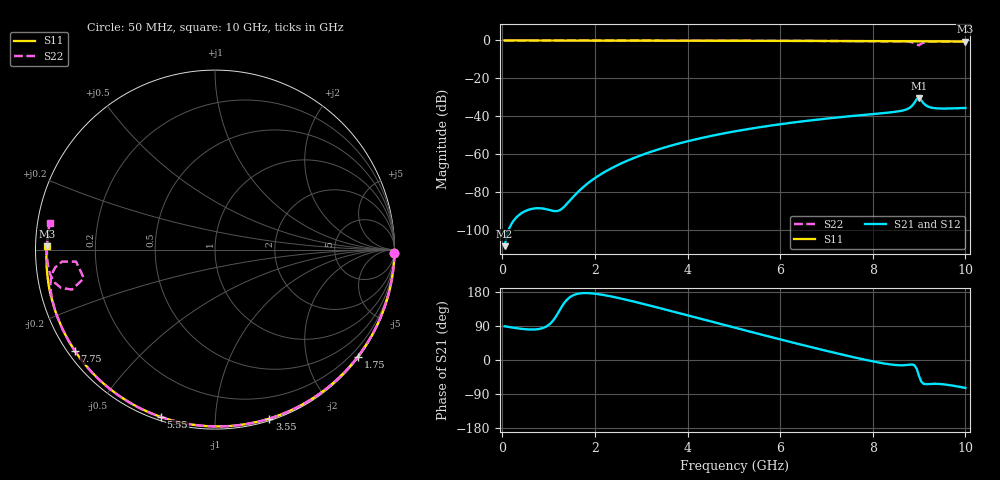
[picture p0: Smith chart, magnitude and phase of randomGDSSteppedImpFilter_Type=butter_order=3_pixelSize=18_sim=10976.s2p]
! freq	dB(S11)	phase(S11)	dB(S12)	phase(S12)
!  dB(S21)	phase(S21)	dB(S22)	phase(S22)
!S-par simulation data
#  GHz  S  DB  R 50
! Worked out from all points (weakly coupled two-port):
!   200 points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, 50 MHz to 10 GHz, reference 50 ohm
!   highest |S21| = -30.34 dB at 9 GHz (marker M1); lowest = -108.6 dB at 50 MHz (marker M2)
!   lowest |S11| = -0.6 dB at 10 GHz (marker M3), VSWR 30.79, Z = 1.62 + j0.486 ohm
!   |S11| at or under -10 dB: nowhere
!   |S22| runs from -2.5 to 0.0 dB; largest |S21 - S12| = 0
!   S11 on the Smith chart (normalised r, x): 50 MHz: open; 1.75 GHz: 0.03, -3.00; 3.55 GHz: 0.02, -1.37; 5.55 GHz: 0.02, -0.73; 7.75 GHz: 0.02, -0.32; 10 GHz: 0.03, +0.01
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0.05  -0.00 -1.1  -108.57 89.0  -108.57 89.0  -0.00 -1.1
0.8  -0.02 -17.1  -88.54 82.0  -88.54 82.0  -0.02 -17.1
1.6  -0.04 -33.7  -80.78 173.8  -80.78 173.8  -0.04 -33.9
1.75  -0.05 -36.8  -77.34 176.5  -77.34 176.5  -0.05 -37.0
2.05  -0.05 -42.9  -71.82 174.2  -71.82 174.2  -0.05 -43.2
2.45  -0.07 -51.0  -66.27 165.2  -66.27 165.2  -0.06 -51.3
3.4  -0.09 -69.4  -57.25 137.0  -57.25 137.0  -0.09 -70.0
3.55  -0.10 -72.2  -56.16 132.2  -56.16 132.2  -0.10 -72.8
4.3  -0.12 -86.0  -51.49 108.2  -51.49 108.2  -0.12 -87.0
5.05  -0.15 -99.3  -47.84 84.3  -47.84 84.3  -0.15 -100.7
5.55  -0.18 -107.9  -45.82 68.5  -45.82 68.5  -0.18 -109.7
6.7  -0.24 -127.1  -42.06 33.1  -42.06 33.1  -0.25 -130.0
7.75  -0.33 -144.1  -39.42 2.9  -39.42 2.9  -0.35 -148.8
8.35  -0.38 -153.8  -38.05 -11.2  -38.05 -11.2  -0.43 -160.2
8.75  -0.43 -160.3  -36.16 -12.9  -36.16 -12.9  -0.64 -169.9
8.9  -0.44 -162.7  -32.88 -13.9  -32.88 -13.9  -1.36 -175.5
8.95  -0.45 -163.5  -31.00 -23.5  -31.00 -23.5  -2.19 -175.1
9  -0.45 -164.3  -30.34 -42.8  -30.34 -42.8  -2.52 -167.7
9.05  -0.45 -165.2  -31.67 -57.7  -31.67 -57.7  -1.65 -164.4
9.15  -0.46 -166.8  -34.31 -63.8  -34.31 -63.8  -0.82 -168.2
9.25  -0.47 -168.5  -35.38 -63.0  -35.38 -63.0  -0.64 -171.8
10  -0.56 178.9  -35.63 -73.7  -35.63 -73.7  -0.61 170.8
